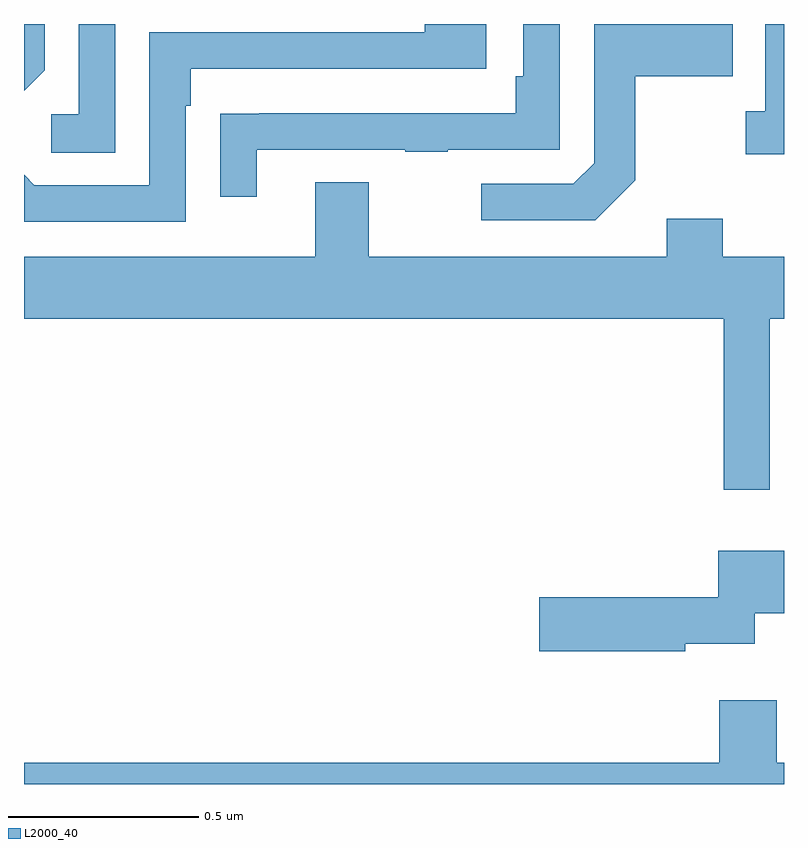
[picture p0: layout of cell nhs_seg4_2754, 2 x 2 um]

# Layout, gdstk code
import gdstk
lib = gdstk.Library(unit=1e-6, precision=1e-09)
def P(c, l, *ps):  # polygons
    for p in ps: c.add(gdstk.Polygon(p, *l))
L2000_40 = (2000, 40)

nhs_seg4_2754 = lib.new_cell('nhs_seg4_2754')
P(nhs_seg4_2754, L2000_40, [(144.426,826.685),(144.439,826.685),(144.439,826.782),(145.216,826.782),(145.216,826.9),(145.055,826.9),(145.055,826.878),(144.33,826.878),(144.33,826.476),(144.027,826.476),(144,826.503),(144,826.38),(144.426,826.38)],
  [(144.054,826.778),(144.054,826.9),(144,826.9),(144,826.724)],
  [(144.613,826.569),(145.003,826.569),(145.003,826.564),(145.115,826.564),(145.115,826.569),(145.41,826.569),(145.41,826.9),(145.314,826.9),(145.314,826.762),(145.294,826.762),(145.294,826.665),(144.619,826.665),(144.619,826.664),(144.517,826.664),(144.517,826.446),(144.613,826.446)],
  [(144.24,826.9),(144.144,826.9),(144.144,826.662),(144.072,826.662),(144.072,826.561),(144.24,826.561)],
  [(146,826.9),(145.95,826.9),(145.95,826.67),(145.899,826.67),(145.899,826.557),(146,826.557)],
  [(145.609,826.489),(145.609,826.762),(145.865,826.762),(145.865,826.9),(145.5,826.9),(145.5,826.533),(145.446,826.479),(145.203,826.479),(145.203,826.383),(145.503,826.383)],
  [(145.963,826.124),(146,826.124),(146,826.288),(145.839,826.288),(145.839,826.387),(145.691,826.387),(145.691,826.288),(144.907,826.288),(144.907,826.483),(144.767,826.483),(144.767,826.288),(144,826.288),(144,826.124),(145.842,826.124),(145.842,825.675),(145.963,825.675)],
  [(145.74,825.269),(145.923,825.269),(145.923,825.35),(146,825.35),(146,825.514),(145.827,825.514),(145.827,825.392),(145.356,825.392),(145.356,825.25),(145.74,825.25)],
  [(146,824.956),(145.981,824.956),(145.981,825.121),(145.829,825.121),(145.829,824.956),(144,824.956),(144,824.9),(146,824.9)])

lib.write_gds('nhs_seg4_2754.gds')
